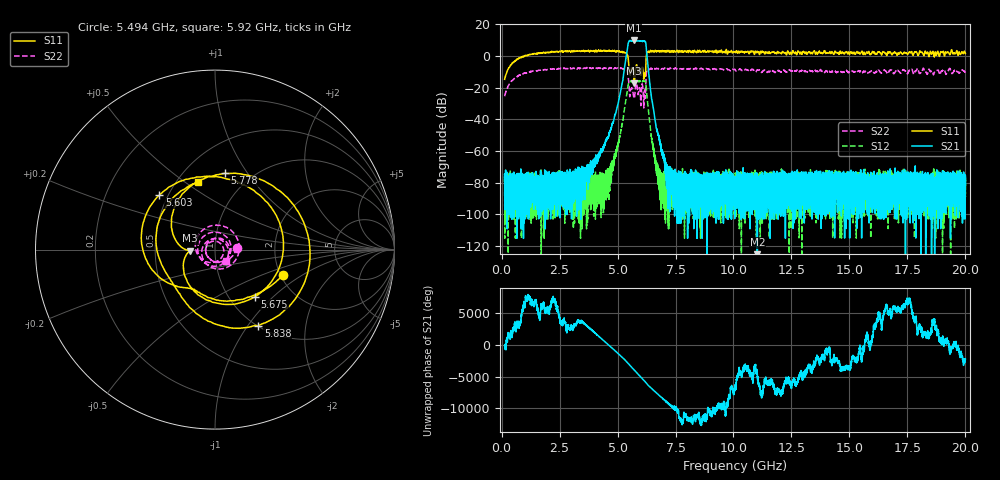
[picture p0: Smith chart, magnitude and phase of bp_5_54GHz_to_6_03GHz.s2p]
!Created with skrf (http://scikit-rf.org).
# GHz S RI R 50.0
!freq ReS11 ImS11 ReS21 ImS21 ReS12 ImS12 ReS22 ImS22
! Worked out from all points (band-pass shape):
!   20013 points, 130 MHz to 20 GHz, reference 50 ohm
!   highest |S21| = 9.90 dB at 5.69 GHz (marker M1); lowest = -178.5 dB at 11.03 GHz (marker M2)
!   |S21| within 3 dB of the highest: 5.448 GHz to 6.229 GHz (781 MHz wide, 13.4 % of centre)
!   lowest |S11| = -17.2 dB at 5.723 GHz (marker M3), VSWR 1.32, Z = 37.9 - j0.487 ohm
!   |S11| at or under -10 dB: start of sweep to 231.9 MHz; 5.682 GHz to 5.755 GHz (73.11 MHz wide, 1.28 % of centre); 6.099 GHz to 6.209 GHz (109.5 MHz wide, 1.78 % of centre) (the widest 3 of 6)
!   |S22| runs from -32.7 to -7.2 dB; largest |S21 - S12| = 3.3
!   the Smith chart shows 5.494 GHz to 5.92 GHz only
!   S11 on the Smith chart (normalised r, x): 5.494 GHz: 2.07, -0.70; 5.603 GHz: 0.45, +0.34; 5.675 GHz: 1.31, -0.78; 5.778 GHz: 0.76, +0.79; 5.838 GHz: 1.01, -1.12; 5.92 GHz: 0.63, +0.56
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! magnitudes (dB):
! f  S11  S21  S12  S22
! 130 MHz  -14.6  -78.9  -79.4  -25.3
! 976 MHz  0.2  -84.3  -85.5  -10.8
! 3.442 GHz  3.2  -77.1  -79.5  -7.2
! 4.633 GHz  3.7  -48.9  -74.9  -7.7
! 5.33 GHz  1.9  -4.7  -30.6  -8.3
! 5.494 GHz  -7.8  9.4  -16.3  -18.4
! 5.603 GHz  -7.3  9.7  -16.1  -20.3
! 5.675 GHz  -9.3  9.8  -15.9  -24.3
! 5.69 GHz  -11.1  9.9  -15.8  -25.4
! 5.723 GHz  -17.2  9.9  -15.7  -26.7
! 5.778 GHz  -7.4  9.6  -16.1  -18.5
! 5.838 GHz  -6.2  9.5  -16.1  -18.5
! 5.92 GHz  -8.2  9.5  -16.1  -21.3
! 6.2 GHz  -12.6  9.3  -16.1  -26.7
! 6.335 GHz  2.9  -9.4  -34.7  -8.7
! 6.754 GHz  3.1  -49.8  -71.4  -8.0
! 7.439 GHz  3.4  -93.1  -90.2  -8.0
! 10.06 GHz  2.7  -82.9  -78.0  -8.4
! 11.03 GHz  2.8  -178.5  -81.8  -8.8
! 13.38 GHz  1.9  -87.0  -84.2  -9.4
! 16.69 GHz  2.0  -96.9  -85.4  -10.1
! 20 GHz  1.6  -78.3  -75.9  -10.5
